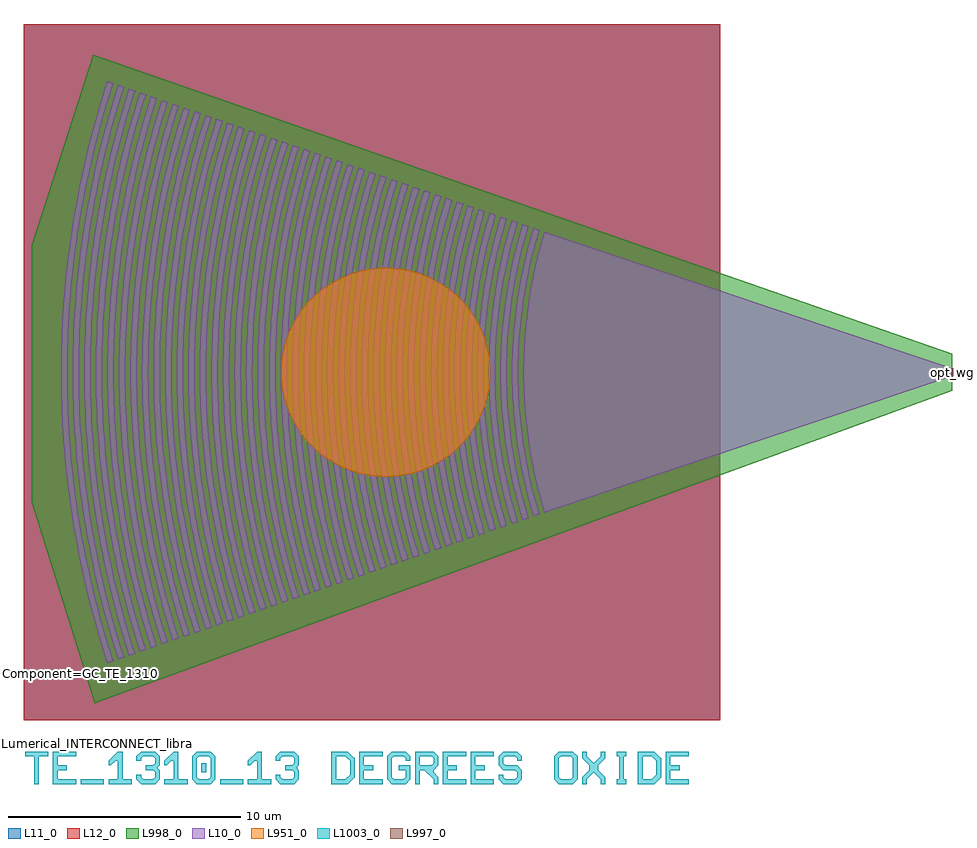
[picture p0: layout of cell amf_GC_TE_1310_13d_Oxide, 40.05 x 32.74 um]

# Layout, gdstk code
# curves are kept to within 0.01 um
import gdstk
lib = gdstk.Library(unit=1e-6, precision=1e-09)
def R(c, l, rs):  # rectangles x0, y0, x1, y1
    for r in rs: c.add(gdstk.rectangle(r[:2], r[2:], *l))
def P(c, l, *ps):  # polygons
    for p in ps: c.add(gdstk.Polygon(p, *l))
L10_0 = (10, 0)
L11_0 = (11, 0)
L12_0 = (12, 0)
L951_0 = (951, 0)
L997_0 = (997, 0)
L998_0 = (998, 0)
L1003_0 = (1003, 0)

amf_gc_te_1310_13d_oxide = lib.new_cell('amf_GC_TE_1310_13d_Oxide')
R(amf_gc_te_1310_13d_oxide, L10_0, [(-1,-0.175,0,0.175)])
P(amf_gc_te_1310_13d_oxide, L10_0, [(-17.569,-6.05),(-17.777,-5.32),(-17.958,-4.585),(-18.111,-3.845),(-18.238,-3.1),(-18.337,-2.351),(-18.409,-1.601),(-18.453,-0.848),(-18.47,-0.094),(-18.46,0.66),(-18.409,1.601),(-18.337,2.351),(-18.238,3.1),(-18.111,3.845),(-17.958,4.585),(-17.777,5.32),(-17.569,6.05),(0,0.175),(0,-0.175)],
  [(-26.516,-9.13),(-26.842,-8.033),(-27.125,-6.926),(-27.367,-5.809),(-27.566,-4.685),(-27.722,-3.555),(-27.835,-2.42),(-27.905,-1.282),(-27.932,-0.143),(-27.916,0.997),(-27.857,2.136),(-27.722,3.555),(-27.566,4.685),(-27.367,5.809),(-27.125,6.926),(-26.842,8.033),(-26.516,9.13),(-26.251,9.039),(-26.573,7.953),(-26.854,6.857),(-27.093,5.751),(-27.29,4.638),(-27.444,3.519),(-27.556,2.396),(-27.625,1.269),(-27.652,0.141),(-27.636,-0.987),(-27.556,-2.396),(-27.444,-3.519),(-27.29,-4.638),(-27.093,-5.751),(-26.854,-6.857),(-26.573,-7.953),(-26.251,-9.039)],
  [(-26.986,-9.292),(-27.319,-8.176),(-27.608,-7.049),(-27.854,-5.913),(-28.057,-4.769),(-28.216,-3.618),(-28.331,-2.463),(-28.403,-1.305),(-28.43,-0.145),(-28.414,1.015),(-28.353,2.174),(-28.249,3.33),(-28.101,4.482),(-27.909,5.627),(-27.608,7.049),(-27.319,8.176),(-26.986,9.292),(-26.722,9.201),(-27.05,8.096),(-27.337,6.98),(-27.58,5.855),(-27.781,4.722),(-27.938,3.583),(-28.052,2.439),(-28.123,1.292),(-28.15,0.144),(-28.134,-1.005),(-28.074,-2.153),(-27.971,-3.297),(-27.781,-4.722),(-27.58,-5.855),(-27.337,-6.98),(-27.05,-8.096),(-26.722,-9.201)],
  [(-27.457,-9.454),(-27.796,-8.319),(-28.09,-7.172),(-28.341,-6.016),(-28.548,-4.852),(-28.71,-3.682),(-28.827,-2.506),(-28.9,-1.328),(-28.928,-0.148),(-28.911,1.033),(-28.85,2.212),(-28.71,3.682),(-28.548,4.852),(-28.341,6.016),(-28.09,7.172),(-27.796,8.319),(-27.457,9.454),(-27.193,9.363),(-27.527,8.238),(-27.819,7.103),(-28.067,5.958),(-28.272,4.805),(-28.432,3.646),(-28.548,2.482),(-28.62,1.315),(-28.648,0.146),(-28.62,-1.315),(-28.548,-2.482),(-28.432,-3.646),(-28.272,-4.805),(-28.067,-5.958),(-27.819,-7.103),(-27.527,-8.238),(-27.193,-9.363)],
  [(-27.928,-9.616),(-28.273,-8.462),(-28.573,-7.295),(-28.828,-6.12),(-29.039,-4.936),(-29.204,-3.745),(-29.323,-2.55),(-29.398,-1.351),(-29.426,-0.15),(-29.409,1.051),(-29.346,2.25),(-29.204,3.745),(-29.039,4.936),(-28.828,6.12),(-28.573,7.295),(-28.273,8.462),(-27.928,9.616),(-27.663,9.525),(-28.005,8.381),(-28.302,7.226),(-28.554,6.061),(-28.763,4.889),(-28.926,3.709),(-29.044,2.525),(-29.118,1.338),(-29.146,0.149),(-29.129,-1.041),(-29.067,-2.229),(-28.96,-3.414),(-28.763,-4.889),(-28.554,-6.061),(-28.302,-7.226),(-28.005,-8.381),(-27.663,-9.525)],
  [(-30.283,-10.427),(-30.658,-9.175),(-30.986,-7.911),(-31.264,-6.637),(-31.493,-5.353),(-31.674,-4.062),(-31.804,-2.765),(-31.885,-1.465),(-31.916,-0.163),(-31.897,1.14),(-31.829,2.441),(-31.711,3.738),(-31.543,5.031),(-31.264,6.637),(-30.986,7.911),(-30.658,9.175),(-30.283,10.427),(-30.018,10.336),(-30.39,9.095),(-30.714,7.842),(-30.99,6.578),(-31.217,5.306),(-31.396,4.026),(-31.525,2.741),(-31.605,1.452),(-31.636,0.161),(-31.618,-1.13),(-31.571,-2.097),(-31.467,-3.384),(-31.356,-4.347),(-31.11,-5.943),(-30.788,-7.527),(-30.476,-8.783),(-30.018,-10.336)],
  [(-30.753,-10.589),(-31.135,-9.318),(-31.468,-8.035),(-31.751,-6.74),(-31.984,-5.436),(-32.167,-4.125),(-32.3,-2.808),(-32.382,-1.488),(-32.414,-0.165),(-32.395,1.157),(-32.325,2.479),(-32.205,3.796),(-32.035,5.109),(-31.814,6.415),(-31.544,7.712),(-31.223,8.998),(-30.951,9.955),(-30.753,10.589),(-30.489,10.498),(-30.867,9.238),(-31.272,7.645),(-31.599,6.037),(-31.849,4.415),(-31.962,3.437),(-32.068,2.13),(-32.115,1.147),(-32.134,0.164),(-32.125,-0.82),(-32.068,-2.13),(-31.962,-3.437),(-31.849,-4.415),(-31.599,-6.037),(-31.272,-7.645),(-30.954,-8.921),(-30.489,-10.498)],
  [(-31.224,-10.751),(-31.612,-9.461),(-31.951,-8.158),(-32.238,-6.843),(-32.475,-5.52),(-32.661,-4.188),(-32.796,-2.852),(-32.88,-1.511),(-32.912,-0.168),(-32.893,1.175),(-32.822,2.517),(-32.7,3.855),(-32.527,5.188),(-32.302,6.513),(-31.951,8.158),(-31.612,9.461),(-31.224,10.751),(-30.96,10.66),(-31.433,9.059),(-31.755,7.764),(-32.028,6.458),(-32.298,4.814),(-32.457,3.491),(-32.543,2.495),(-32.613,1.165),(-32.632,0.166),(-32.613,-1.165),(-32.565,-2.163),(-32.489,-3.159),(-32.342,-4.483),(-32.088,-6.13),(-31.828,-7.438),(-31.433,-9.059),(-30.96,-10.66)],
  [(-31.695,-10.914),(-32.09,-9.604),(-32.433,-8.281),(-32.725,-6.947),(-32.966,-5.603),(-33.155,-4.252),(-33.292,-2.895),(-33.377,-1.534),(-33.41,-0.17),(-33.39,1.193),(-33.319,2.555),(-33.195,3.913),(-32.966,5.603),(-32.725,6.947),(-32.433,8.281),(-32.09,9.604),(-31.695,10.914),(-31.43,10.822),(-31.632,10.175),(-31.911,9.197),(-32.239,7.882),(-32.452,6.889),(-32.577,6.224),(-32.836,4.552),(-32.952,3.544),(-33.062,2.196),(-33.111,1.183),(-33.13,0.169),(-33.111,-1.183),(-33.062,-2.196),(-32.952,-3.544),(-32.836,-4.552),(-32.577,-6.224),(-32.313,-7.552),(-31.911,-9.197),(-31.632,-10.175),(-31.43,-10.822)],
  [(-32.166,-11.076),(-32.567,-9.747),(-32.916,-8.404),(-33.213,-7.05),(-33.457,-5.687),(-33.649,-4.315),(-33.789,-2.938),(-33.875,-1.556),(-33.908,-0.173),(-33.905,0.519),(-33.875,1.556),(-33.789,2.938),(-33.649,4.315),(-33.457,5.687),(-33.213,7.05),(-32.916,8.404),(-32.567,9.747),(-32.166,11.076),(-31.901,10.984),(-32.39,9.335),(-32.723,8),(-32.939,6.992),(-33.066,6.317),(-33.234,5.3),(-33.329,4.62),(-33.48,3.256),(-33.559,2.229),(-33.608,1.201),(-33.628,0.172),(-33.618,-0.858),(-33.559,-2.229),(-33.48,-3.256),(-33.329,-4.62),(-33.234,-5.3),(-33.066,-6.317),(-32.939,-6.992),(-32.723,-8),(-32.39,-9.335),(-31.901,-10.984)],
  [(-32.637,-11.238),(-33.044,-9.889),(-33.398,-8.527),(-33.7,-7.154),(-33.948,-5.77),(-34.143,-4.379),(-34.285,-2.981),(-34.372,-1.579),(-34.406,-0.176),(-34.386,1.229),(-34.312,2.631),(-34.184,4.03),(-34.002,5.423),(-33.767,6.809),(-33.479,8.185),(-33.228,9.21),(-33.044,9.889),(-32.637,11.238),(-32.372,11.147),(-32.868,9.473),(-33.207,8.118),(-33.556,6.41),(-33.776,5.034),(-33.906,3.997),(-34.032,2.609),(-34.093,1.566),(-34.126,0.174),(-34.106,-1.219),(-34.056,-2.262),(-33.976,-3.304),(-33.822,-4.689),(-33.726,-5.379),(-33.556,-6.41),(-33.207,-8.118),(-32.868,-9.473),(-32.372,-11.147)],
  [(-33.108,-11.4),(-33.521,-10.032),(-33.881,-8.651),(-34.187,-7.257),(-34.439,-5.853),(-34.637,-4.442),(-34.781,-3.024),(-34.87,-1.602),(-34.904,-0.178),(-34.883,1.246),(-34.808,2.669),(-34.678,4.088),(-34.494,5.501),(-34.32,6.556),(-34.187,7.257),(-33.881,8.651),(-33.521,10.032),(-33.108,11.4),(-32.843,11.309),(-33.253,9.952),(-33.438,9.268),(-33.69,8.237),(-33.981,6.852),(-34.106,6.155),(-34.268,5.107),(-34.4,4.055),(-34.529,2.648),(-34.604,1.236),(-34.624,0.177),(-34.604,-1.236),(-34.553,-2.295),(-34.437,-3.704),(-34.315,-4.757),(-34.106,-6.155),(-33.981,-6.852),(-33.768,-7.891),(-33.347,-9.61),(-32.843,-11.309)],
  [(-33.579,-11.562),(-33.998,-10.175),(-34.363,-8.774),(-34.674,-7.36),(-34.93,-5.937),(-35.131,-4.505),(-35.277,-3.067),(-35.367,-1.625),(-35.402,-0.181),(-35.381,1.264),(-35.305,2.707),(-35.173,4.146),(-34.986,5.58),(-34.743,7.005),(-34.446,8.422),(-34.277,9.125),(-33.998,10.175),(-33.579,11.562),(-33.314,11.471),(-33.73,10.095),(-34.174,8.355),(-34.469,6.95),(-34.596,6.244),(-34.761,5.181),(-34.933,3.757),(-35.026,2.686),(-35.088,1.612),(-35.122,0.179),(-35.112,-0.896),(-35.05,-2.328),(-34.933,-3.757),(-34.809,-4.825),(-34.596,-6.244),(-34.469,-6.95),(-34.253,-8.005),(-34.092,-8.705),(-33.825,-9.748),(-33.631,-10.44),(-33.314,-11.471)],
  [(-34.049,-11.724),(-34.475,-10.318),(-34.846,-8.897),(-35.161,-7.464),(-35.421,-6.02),(-35.625,-4.569),(-35.773,-3.11),(-35.865,-1.648),(-35.9,-0.183),(-35.889,0.916),(-35.865,1.648),(-35.773,3.11),(-35.625,4.569),(-35.421,6.02),(-35.161,7.464),(-34.846,8.897),(-34.475,10.318),(-34.049,11.724),(-33.785,11.633),(-34.003,10.937),(-34.304,9.886),(-34.658,8.473),(-34.957,7.049),(-35.086,6.332),(-35.253,5.254),(-35.428,3.81),(-35.522,2.724),(-35.599,1.272),(-35.62,0.182),(-35.61,-0.909),(-35.547,-2.361),(-35.428,-3.81),(-35.302,-4.894),(-35.086,-6.332),(-34.957,-7.049),(-34.738,-8.118),(-34.488,-9.181),(-34.304,-9.886),(-34.003,-10.937),(-33.785,-11.633)],
  [(-34.52,-11.886),(-34.952,-10.461),(-35.328,-9.02),(-35.648,-7.567),(-35.912,-6.104),(-36.119,-4.632),(-36.269,-3.154),(-36.362,-1.671),(-36.398,-0.186),(-36.377,1.3),(-36.298,2.783),(-36.162,4.263),(-36.073,5.001),(-35.912,6.104),(-35.648,7.567),(-35.328,9.02),(-34.952,10.461),(-34.52,11.886),(-34.256,11.795),(-34.684,10.38),(-34.969,9.31),(-35.142,8.592),(-35.445,7.147),(-35.576,6.421),(-35.746,5.328),(-35.884,4.23),(-36.019,2.762),(-36.097,1.29),(-36.118,0.184),(-36.097,-1.29),(-36.043,-2.394),(-35.923,-3.863),(-35.795,-4.962),(-35.693,-5.692),(-35.512,-6.784),(-35.3,-7.871),(-35.142,-8.592),(-34.969,-9.31),(-34.684,-10.38),(-34.256,-11.795)],
  [(-34.991,-12.048),(-35.429,-10.603),(-35.811,-9.143),(-36.135,-7.671),(-36.403,-6.187),(-36.613,-4.695),(-36.765,-3.197),(-36.86,-1.694),(-36.896,-0.188),(-36.874,1.317),(-36.794,2.821),(-36.657,4.321),(-36.461,5.815),(-36.208,7.301),(-36.06,8.04),(-35.811,9.143),(-35.429,10.603),(-34.991,12.048),(-34.726,11.957),(-34.951,11.242),(-35.261,10.162),(-35.45,9.438),(-35.708,8.345),(-35.862,7.613),(-36.066,6.509),(-36.289,5.03),(-36.418,3.917),(-36.515,2.8),(-36.58,1.681),(-36.616,0.187),(-36.605,-0.934),(-36.54,-2.427),(-36.454,-3.545),(-36.289,-5.03),(-36.066,-6.509),(-35.862,-7.613),(-35.708,-8.345),(-35.45,-9.438),(-35.261,-10.162),(-35.058,-10.883),(-34.726,-11.957)],
  [(-21.336,-7.347),(-21.594,-6.463),(-21.818,-5.571),(-22.008,-4.672),(-22.165,-3.767),(-22.288,-2.858),(-22.378,-1.946),(-22.433,-1.031),(-22.454,-0.115),(-22.433,1.031),(-22.378,1.946),(-22.288,2.858),(-22.165,3.767),(-22.008,4.672),(-21.818,5.571),(-21.594,6.463),(-21.336,7.347),(-21.071,7.255),(-21.325,6.382),(-21.546,5.501),(-21.734,4.614),(-21.889,3.72),(-22.011,2.823),(-22.099,1.921),(-22.153,1.018),(-22.174,0.113),(-22.162,-0.792),(-22.115,-1.696),(-22.036,-2.598),(-21.923,-3.496),(-21.776,-4.391),(-21.546,-5.501),(-21.325,-6.382),(-21.071,-7.255)],
  [(-21.807,-7.509),(-22.071,-6.605),(-22.3,-5.694),(-22.495,-4.775),(-22.656,-3.851),(-22.782,-2.922),(-22.874,-1.989),(-22.93,-1.054),(-22.952,-0.117),(-22.939,0.82),(-22.891,1.755),(-22.808,2.689),(-22.691,3.619),(-22.539,4.545),(-22.3,5.694),(-22.071,6.605),(-21.807,7.509),(-21.542,7.418),(-21.802,6.525),(-22.029,5.625),(-22.222,4.717),(-22.38,3.804),(-22.505,2.886),(-22.595,1.965),(-22.651,1.041),(-22.672,0.116),(-22.651,-1.041),(-22.595,-1.965),(-22.505,-2.886),(-22.38,-3.804),(-22.222,-4.717),(-22.029,-5.625),(-21.802,-6.525),(-21.542,-7.418)],
  [(-22.278,-7.671),(-22.548,-6.748),(-22.783,-5.817),(-22.983,-4.879),(-23.147,-3.934),(-23.276,-2.985),(-23.37,-2.032),(-23.428,-1.076),(-23.45,-0.12),(-23.437,0.837),(-23.388,1.793),(-23.303,2.747),(-23.183,3.697),(-22.983,4.879),(-22.783,5.817),(-22.548,6.748),(-22.278,7.671),(-22.013,7.58),(-22.279,6.668),(-22.511,5.748),(-22.709,4.821),(-22.871,3.887),(-22.999,2.949),(-23.091,2.008),(-23.148,1.064),(-23.17,0.118),(-23.157,-0.827),(-23.109,-1.772),(-22.999,-2.949),(-22.871,-3.887),(-22.709,-4.821),(-22.511,-5.748),(-22.279,-6.668),(-22.013,-7.58)],
  [(-22.749,-7.833),(-23.025,-6.891),(-23.265,-5.94),(-23.47,-4.982),(-23.638,-4.018),(-23.77,-3.048),(-23.866,-2.075),(-23.925,-1.099),(-23.948,-0.122),(-23.934,0.855),(-23.884,1.831),(-23.798,2.805),(-23.675,3.776),(-23.515,4.741),(-23.32,5.701),(-23.025,6.891),(-22.749,7.833),(-22.484,7.742),(-22.757,6.811),(-22.994,5.871),(-23.196,4.924),(-23.362,3.971),(-23.493,3.013),(-23.587,2.051),(-23.646,1.086),(-23.668,0.121),(-23.655,-0.845),(-23.605,-1.81),(-23.52,-2.773),(-23.398,-3.732),(-23.241,-4.686),(-23.048,-5.635),(-22.757,-6.811),(-22.484,-7.742)],
  [(-35.462,-12.211),(-35.906,-10.746),(-36.293,-9.267),(-36.623,-7.774),(-36.894,-6.271),(-37.107,-4.759),(-37.261,-3.24),(-37.357,-1.716),(-37.394,-0.191),(-37.372,1.335),(-37.291,2.859),(-37.151,4.379),(-36.953,5.893),(-36.696,7.399),(-36.381,8.895),(-36.008,10.378),(-35.801,11.114),(-35.462,12.211),(-35.197,12.119),(-35.638,10.666),(-35.837,9.933),(-36.109,8.828),(-36.349,7.716),(-36.491,6.971),(-36.731,5.474),(-36.873,4.347),(-37.012,2.838),(-37.092,1.325),(-37.114,0.189),(-37.103,-0.947),(-37.037,-2.46),(-36.95,-3.593),(-36.782,-5.099),(-36.618,-6.224),(-36.491,-6.971),(-36.193,-8.458),(-36.022,-9.197),(-35.739,-10.3),(-35.425,-11.395),(-35.197,-12.119)],
  [(-35.933,-12.373),(-36.383,-10.889),(-36.776,-9.39),(-37.11,-7.878),(-37.385,-6.354),(-37.601,-4.822),(-37.758,-3.283),(-37.855,-1.739),(-37.892,-0.193),(-37.87,1.353),(-37.787,2.897),(-37.646,4.438),(-37.445,5.972),(-37.322,6.736),(-37.11,7.878),(-36.776,9.39),(-36.383,10.889),(-35.933,12.373),(-35.668,12.282),(-35.899,11.547),(-36.218,10.438),(-36.593,8.946),(-36.759,8.196),(-36.98,7.065),(-37.223,5.548),(-37.368,4.405),(-37.508,2.876),(-37.59,1.343),(-37.612,0.192),(-37.59,-1.343),(-37.534,-2.493),(-37.445,-3.641),(-37.275,-5.167),(-37.168,-5.928),(-36.98,-7.065),(-36.759,-8.196),(-36.593,-8.946),(-36.218,-10.438),(-35.899,-11.547),(-35.668,-12.282)],
  [(-36.404,-12.535),(-36.86,-11.032),(-37.258,-9.513),(-37.597,-7.981),(-37.876,-6.438),(-38.095,-4.885),(-38.254,-3.326),(-38.352,-1.762),(-38.39,-0.196),(-38.379,0.979),(-38.352,1.762),(-38.254,3.326),(-38.095,4.885),(-37.876,6.438),(-37.597,7.981),(-37.258,9.513),(-36.86,11.032),(-36.404,12.535),(-36.139,12.444),(-36.592,10.951),(-36.894,9.822),(-37.077,9.065),(-37.398,7.541),(-37.6,6.391),(-37.716,5.621),(-37.862,4.463),(-38.005,2.914),(-38.087,1.361),(-38.11,0.194),(-38.099,-0.972),(-38.031,-2.526),(-37.941,-3.689),(-37.768,-5.236),(-37.66,-6.006),(-37.469,-7.158),(-37.245,-8.304),(-37.077,-9.065),(-36.894,-9.822),(-36.592,-10.951),(-36.139,-12.444)],
  [(-23.22,-7.995),(-23.502,-7.034),(-23.748,-6.063),(-23.957,-5.085),(-24.129,-4.101),(-24.264,-3.112),(-24.362,-2.118),(-24.423,-1.122),(-24.446,-0.125),(-24.432,0.873),(-24.381,1.869),(-24.292,2.864),(-24.129,4.101),(-23.957,5.085),(-23.748,6.063),(-23.502,7.034),(-23.22,7.995),(-22.955,7.904),(-23.234,6.953),(-23.476,5.994),(-23.683,5.027),(-23.853,4.054),(-23.986,3.076),(-24.083,2.094),(-24.143,1.109),(-24.166,0.123),(-24.152,-0.863),(-24.102,-1.848),(-24.014,-2.831),(-23.89,-3.81),(-23.729,-4.785),(-23.476,-5.994),(-23.234,-6.953),(-22.955,-7.904)],
  [(-23.69,-8.157),(-23.979,-7.176),(-24.23,-6.187),(-24.444,-5.189),(-24.62,-4.185),(-24.758,-3.175),(-24.858,-2.161),(-24.92,-1.145),(-24.944,-0.127),(-24.93,0.891),(-24.858,2.161),(-24.758,3.175),(-24.62,4.185),(-24.444,5.189),(-24.23,6.187),(-23.979,7.176),(-23.69,8.157),(-23.426,8.066),(-23.711,7.096),(-23.959,6.117),(-24.17,5.131),(-24.344,4.138),(-24.48,3.139),(-24.579,2.137),(-24.641,1.132),(-24.664,0.126),(-24.65,-0.881),(-24.598,-1.886),(-24.509,-2.889),(-24.382,-3.889),(-24.17,-5.131),(-23.959,-6.117),(-23.711,-7.096),(-23.426,-8.066)],
  [(-24.161,-8.319),(-24.456,-7.319),(-24.713,-6.31),(-24.931,-5.292),(-25.111,-4.268),(-25.252,-3.238),(-25.354,-2.205),(-25.418,-1.168),(-25.442,-0.13),(-25.427,0.908),(-25.374,1.946),(-25.281,2.98),(-25.15,4.011),(-24.98,5.037),(-24.713,6.31),(-24.456,7.319),(-24.161,8.319),(-23.896,8.228),(-24.188,7.239),(-24.441,6.241),(-24.657,5.234),(-24.835,4.221),(-24.974,3.203),(-25.075,2.18),(-25.138,1.155),(-25.162,0.128),(-25.148,-0.898),(-25.095,-1.924),(-25.003,-2.947),(-24.835,-4.221),(-24.657,-5.234),(-24.441,-6.241),(-24.188,-7.239),(-23.896,-8.228)],
  [(-24.632,-8.482),(-24.933,-7.462),(-25.195,-6.433),(-25.418,-5.396),(-25.602,-4.351),(-25.746,-3.302),(-25.851,-2.248),(-25.915,-1.191),(-25.94,-0.132),(-25.925,0.926),(-25.87,1.984),(-25.776,3.038),(-25.642,4.089),(-25.468,5.135),(-25.255,6.174),(-24.933,7.462),(-24.632,8.482),(-24.367,8.39),(-24.665,7.382),(-24.924,6.364),(-25.144,5.338),(-25.326,4.305),(-25.468,3.266),(-25.572,2.223),(-25.636,1.178),(-25.66,0.131),(-25.636,-1.178),(-25.572,-2.223),(-25.468,-3.266),(-25.326,-4.305),(-25.144,-5.338),(-24.924,-6.364),(-24.665,-7.382),(-24.367,-8.39)],
  [(-25.103,-8.644),(-25.41,-7.605),(-25.678,-6.556),(-25.905,-5.499),(-26.093,-4.435),(-26.24,-3.365),(-26.347,-2.291),(-26.413,-1.214),(-26.438,-0.135),(-26.413,1.214),(-26.347,2.291),(-26.24,3.365),(-26.093,4.435),(-25.905,5.499),(-25.678,6.556),(-25.41,7.605),(-25.103,8.644),(-24.838,8.552),(-25.142,7.525),(-25.407,6.487),(-25.632,5.441),(-25.817,4.388),(-25.962,3.329),(-26.068,2.267),(-26.133,1.201),(-26.158,0.133),(-26.133,-1.201),(-26.068,-2.267),(-25.962,-3.329),(-25.817,-4.388),(-25.632,-5.441),(-25.407,-6.487),(-25.142,-7.525),(-24.838,-8.552)],
  [(-25.574,-8.806),(-25.887,-7.748),(-26.16,-6.679),(-26.393,-5.603),(-26.584,-4.518),(-26.734,-3.428),(-26.843,-2.334),(-26.91,-1.236),(-26.936,-0.137),(-26.921,0.962),(-26.864,2.06),(-26.734,3.428),(-26.584,4.518),(-26.393,5.603),(-26.16,6.679),(-25.887,7.748),(-25.574,8.806),(-25.309,8.715),(-25.619,7.667),(-25.889,6.61),(-26.119,5.544),(-26.308,4.471),(-26.456,3.393),(-26.564,2.31),(-26.63,1.224),(-26.656,0.136),(-26.641,-0.952),(-26.584,-2.038),(-26.487,-3.122),(-26.349,-4.202),(-26.119,-5.544),(-25.889,-6.61),(-25.619,-7.667),(-25.309,-8.715)],
  [(-26.045,-8.968),(-26.364,-7.89),(-26.643,-6.803),(-26.88,-5.706),(-27.075,-4.602),(-27.228,-3.492),(-27.339,-2.377),(-27.408,-1.259),(-27.434,-0.14),(-27.408,1.259),(-27.339,2.377),(-27.228,3.492),(-27.075,4.602),(-26.88,5.706),(-26.643,6.803),(-26.364,7.89),(-26.045,8.968),(-25.78,8.877),(-26.096,7.81),(-26.372,6.733),(-26.606,5.648),(-26.799,4.555),(-26.95,3.456),(-27.06,2.353),(-27.128,1.246),(-27.154,0.139),(-27.138,-0.97),(-27.081,-2.076),(-26.982,-3.181),(-26.841,-4.281),(-26.606,-5.648),(-26.372,-6.733),(-26.096,-7.81),(-25.78,-8.877)],
  [(-28.399,-9.779),(-28.75,-8.604),(-29.055,-7.419),(-29.315,-6.223),(-29.53,-5.019),(-29.698,-3.808),(-29.82,-2.593),(-29.895,-1.374),(-29.924,-0.153),(-29.907,1.068),(-29.82,2.593),(-29.698,3.808),(-29.53,5.019),(-29.315,6.223),(-29.055,7.419),(-28.75,8.604),(-28.399,9.779),(-28.134,9.687),(-28.482,8.524),(-28.784,7.349),(-29.042,6.165),(-29.254,4.972),(-29.42,3.773),(-29.541,2.568),(-29.615,1.361),(-29.644,0.151),(-29.627,-1.058),(-29.564,-2.267),(-29.42,-3.773),(-29.254,-4.972),(-29.042,-6.165),(-28.784,-7.349),(-28.482,-8.524),(-28.134,-9.687)],
  [(-28.87,-9.941),(-29.227,-8.747),(-29.538,-7.542),(-29.803,-6.326),(-30.021,-5.102),(-30.192,-3.872),(-30.316,-2.636),(-30.392,-1.396),(-30.422,-0.155),(-30.404,1.086),(-30.316,2.636),(-30.192,3.872),(-30.021,5.102),(-29.803,6.326),(-29.538,7.542),(-29.227,8.747),(-28.87,9.941),(-28.605,9.85),(-28.959,8.667),(-29.267,7.473),(-29.529,6.268),(-29.745,5.056),(-29.914,3.836),(-30.037,2.612),(-30.113,1.384),(-30.142,0.154),(-30.125,-1.076),(-30.037,-2.612),(-29.914,-3.836),(-29.745,-5.056),(-29.529,-6.268),(-29.267,-7.473),(-28.959,-8.667),(-28.605,-9.85)],
  [(-29.341,-10.103),(-29.704,-8.89),(-30.021,-7.665),(-30.29,-6.43),(-30.512,-5.186),(-30.686,-3.935),(-30.812,-2.679),(-30.89,-1.419),(-30.92,-0.158),(-30.902,1.104),(-30.812,2.679),(-30.686,3.935),(-30.512,5.186),(-30.29,6.43),(-30.021,7.665),(-29.704,8.89),(-29.341,10.103),(-29.076,10.012),(-29.436,8.81),(-29.749,7.596),(-30.016,6.372),(-30.235,5.139),(-30.408,3.899),(-30.533,2.655),(-30.61,1.406),(-30.64,0.156),(-30.631,-0.782),(-30.578,-2.031),(-30.506,-2.966),(-30.369,-4.21),(-30.132,-5.756),(-29.82,-7.291),(-29.519,-8.507),(-29.076,-10.012)],
  [(-29.812,-10.265),(-30.181,-9.033),(-30.503,-7.788),(-30.777,-6.533),(-31.002,-5.269),(-31.18,-3.998),(-31.308,-2.722),(-31.387,-1.442),(-31.418,-0.16),(-31.4,1.122),(-31.332,2.402),(-31.216,3.68),(-31.051,4.952),(-30.838,6.218),(-30.576,7.475),(-30.266,8.723),(-29.812,10.265),(-29.547,10.174),(-29.913,8.952),(-30.232,7.719),(-30.503,6.475),(-30.726,5.222),(-30.902,3.963),(-31.029,2.698),(-31.108,1.429),(-31.138,0.159),(-31.12,-1.112),(-31.074,-2.064),(-31.002,-3.015),(-30.863,-4.278),(-30.621,-5.85),(-30.304,-7.409),(-29.913,-8.952),(-29.547,-10.174)],
  [(-18.04,-6.212),(-18.254,-5.463),(-18.44,-4.708),(-18.598,-3.948),(-18.729,-3.183),(-18.831,-2.415),(-18.905,-1.644),(-18.951,-0.871),(-18.968,-0.097),(-18.951,0.871),(-18.905,1.644),(-18.831,2.415),(-18.729,3.183),(-18.598,3.948),(-18.44,4.708),(-18.254,5.463),(-18.04,6.212),(-17.775,6.12),(-17.986,5.383),(-18.169,4.639),(-18.324,3.89),(-18.452,3.136),(-18.553,2.379),(-18.626,1.619),(-18.671,0.858),(-18.688,0.095),(-18.678,-0.667),(-18.64,-1.429),(-18.574,-2.19),(-18.48,-2.947),(-18.359,-3.702),(-18.169,-4.639),(-17.986,-5.383),(-17.775,-6.12)],
  [(-18.511,-6.374),(-18.731,-5.606),(-18.923,-4.831),(-19.122,-3.856),(-19.219,-3.267),(-19.325,-2.478),(-19.401,-1.687),(-19.448,-0.894),(-19.466,-0.099),(-19.448,0.894),(-19.401,1.687),(-19.325,2.478),(-19.219,3.267),(-19.122,3.856),(-18.923,4.831),(-18.731,5.606),(-18.511,6.374),(-18.246,6.283),(-18.463,5.526),(-18.651,4.762),(-18.812,3.993),(-18.943,3.22),(-19.047,2.443),(-19.122,1.663),(-19.168,0.881),(-19.186,0.098),(-19.175,-0.685),(-19.136,-1.467),(-19.068,-2.248),(-18.972,-3.026),(-18.847,-3.8),(-18.694,-4.57),(-18.513,-5.335),(-18.246,-6.283)],
  [(-18.982,-6.536),(-19.208,-5.749),(-19.405,-4.955),(-19.573,-4.155),(-19.71,-3.35),(-19.819,-2.542),(-19.897,-1.73),(-19.946,-0.916),(-19.964,-0.102),(-19.953,0.713),(-19.912,1.527),(-19.841,2.339),(-19.74,3.148),(-19.61,3.954),(-19.45,4.755),(-19.208,5.749),(-18.982,6.536),(-18.717,6.445),(-18.94,5.668),(-19.134,4.885),(-19.299,4.097),(-19.434,3.303),(-19.541,2.506),(-19.618,1.706),(-19.666,0.904),(-19.684,0.1),(-19.673,-0.703),(-19.633,-1.505),(-19.563,-2.306),(-19.464,-3.104),(-19.335,-3.899),(-19.178,-4.689),(-18.94,-5.668),(-18.717,-6.445)],
  [(-19.453,-6.698),(-19.685,-5.891),(-19.888,-5.078),(-20.06,-4.258),(-20.201,-3.434),(-20.313,-2.605),(-20.393,-1.773),(-20.443,-0.939),(-20.462,-0.104),(-20.451,0.731),(-20.408,1.565),(-20.336,2.397),(-20.232,3.227),(-20.06,4.258),(-19.888,5.078),(-19.685,5.891),(-19.453,6.698),(-19.188,6.607),(-19.417,5.811),(-19.616,5.009),(-19.786,4.2),(-19.925,3.387),(-20.035,2.569),(-20.114,1.749),(-20.163,0.926),(-20.182,0.103),(-20.171,-0.721),(-20.129,-1.543),(-20.057,-2.364),(-19.956,-3.183),(-19.824,-3.997),(-19.616,-5.009),(-19.417,-5.811),(-19.188,-6.607)],
  [(-19.923,-6.86),(-20.162,-6.034),(-20.37,-5.201),(-20.547,-4.362),(-20.692,-3.517),(-20.807,-2.668),(-20.889,-1.816),(-20.94,-0.962),(-20.96,-0.107),(-20.948,0.748),(-20.905,1.603),(-20.83,2.455),(-20.724,3.305),(-20.547,4.362),(-20.37,5.201),(-20.162,6.034),(-19.923,6.86),(-19.659,6.769),(-19.894,5.954),(-20.099,5.132),(-20.273,4.303),(-20.416,3.47),(-20.529,2.633),(-20.61,1.792),(-20.661,0.949),(-20.68,0.106),(-20.669,-0.738),(-20.626,-1.581),(-20.529,-2.633),(-20.416,-3.47),(-20.273,-4.303),(-20.099,-5.132),(-19.894,-5.954),(-19.659,-6.769)],
  [(-20.394,-7.022),(-20.639,-6.177),(-20.853,-5.324),(-21.034,-4.465),(-21.183,-3.6),(-21.3,-2.732),(-21.385,-1.859),(-21.438,-0.985),(-21.458,-0.109),(-21.446,0.766),(-21.402,1.641),(-21.325,2.514),(-21.216,3.384),(-21.034,4.465),(-20.853,5.324),(-20.639,6.177),(-20.394,7.022),(-20.13,6.931),(-20.371,6.097),(-20.581,5.255),(-20.76,4.407),(-20.907,3.554),(-21.023,2.696),(-21.106,1.835),(-21.158,0.972),(-21.178,0.108),(-21.166,-0.756),(-21.122,-1.62),(-21.047,-2.481),(-20.907,-3.554),(-20.76,-4.407),(-20.581,-5.255),(-20.371,-6.097),(-20.13,-6.931)],
  [(-20.865,-7.184),(-21.116,-6.32),(-21.335,-5.447),(-21.521,-4.568),(-21.674,-3.684),(-21.794,-2.795),(-21.881,-1.903),(-21.935,-1.008),(-21.956,-0.112),(-21.944,0.784),(-21.898,1.679),(-21.819,2.572),(-21.674,3.684),(-21.521,4.568),(-21.335,5.447),(-21.116,6.32),(-20.865,7.184),(-20.6,7.093),(-20.848,6.24),(-21.064,5.378),(-21.247,4.51),(-21.398,3.637),(-21.517,2.759),(-21.603,1.878),(-21.656,0.995),(-21.676,0.111),(-21.664,-0.774),(-21.619,-1.658),(-21.541,-2.539),(-21.431,-3.418),(-21.288,-4.292),(-21.113,-5.162),(-20.848,-6.24),(-20.6,-7.093)])
R(amf_gc_te_1310_13d_oxide, L11_0, [(-40,-15,-10,15)])
R(amf_gc_te_1310_13d_oxide, L12_0, [(-40,-15,-10,15)])
P(amf_gc_te_1310_13d_oxide, L951_0, [(-24.621,-4.5),(-25.061,-4.457),(-25.495,-4.37),(-25.918,-4.242),(-26.326,-4.073),(-26.716,-3.864),(-27.084,-3.619),(-27.426,-3.338),(-27.738,-3.026),(-28.019,-2.684),(-28.264,-2.316),(-28.473,-1.926),(-28.642,-1.518),(-28.77,-1.095),(-28.857,-0.661),(-28.9,-0.221),(-28.9,0.221),(-28.857,0.661),(-28.77,1.095),(-28.642,1.518),(-28.473,1.926),(-28.264,2.316),(-28.019,2.684),(-27.738,3.026),(-27.426,3.338),(-27.084,3.619),(-26.716,3.864),(-26.326,4.073),(-25.918,4.242),(-25.495,4.37),(-25.061,4.457),(-24.621,4.5),(-24.179,4.5),(-23.739,4.457),(-23.305,4.37),(-22.882,4.242),(-22.474,4.073),(-22.084,3.864),(-21.716,3.619),(-21.374,3.338),(-21.062,3.026),(-20.781,2.684),(-20.536,2.316),(-20.327,1.926),(-20.158,1.518),(-20.03,1.095),(-19.943,0.661),(-19.9,0.221),(-19.9,-0.221),(-19.943,-0.661),(-20.03,-1.095),(-20.158,-1.518),(-20.327,-1.926),(-20.536,-2.316),(-20.781,-2.684),(-21.062,-3.026),(-21.374,-3.338),(-21.716,-3.619),(-22.084,-3.864),(-22.474,-4.073),(-22.882,-4.242),(-23.305,-4.37),(-23.739,-4.457),(-24.179,-4.5)])
P(amf_gc_te_1310_13d_oxide, L998_0, [(-36.93,-14.26),(-39.65,-5.6),(-39.65,5.474),(-37.01,13.68),(0,0.8),(0,-0.8)])
R(amf_gc_te_1310_13d_oxide, L1003_0, [(-37.54,-17.74,-36.54,-17.54), (-31.54,-17.74,-30.54,-17.54), (-32.34,-17.24,-32.14,-16.84)])
P(amf_gc_te_1310_13d_oxide, L1003_0, [(-39.54,-17.74),(-39.54,-16.54),(-39.94,-16.54),(-39.94,-16.34),(-38.94,-16.34),(-38.94,-16.54),(-39.34,-16.54),(-39.34,-17.74)],
  [(-38.74,-17.74),(-38.74,-16.34),(-37.74,-16.34),(-37.74,-16.54),(-38.54,-16.54),(-38.54,-16.94),(-38.14,-16.94),(-38.14,-17.14),(-38.54,-17.14),(-38.54,-17.54),(-37.74,-17.54),(-37.74,-17.74)],
  [(-36.34,-17.74),(-36.34,-17.54),(-35.94,-17.54),(-35.94,-16.74),(-36.04,-16.74),(-36.24,-16.94),(-36.34,-16.94),(-36.34,-16.74),(-35.94,-16.34),(-35.74,-16.34),(-35.74,-17.54),(-35.34,-17.54),(-35.34,-17.74)],
  [(-34.94,-17.74),(-35.14,-17.54),(-35.14,-17.34),(-34.94,-17.34),(-34.94,-17.44),(-34.84,-17.54),(-34.44,-17.54),(-34.34,-17.44),(-34.34,-17.24),(-34.44,-17.14),(-34.74,-17.14),(-34.74,-16.94),(-34.44,-16.94),(-34.34,-16.84),(-34.34,-16.64),(-34.44,-16.54),(-34.84,-16.54),(-34.94,-16.64),(-34.94,-16.74),(-35.14,-16.74),(-35.14,-16.54),(-34.94,-16.34),(-34.34,-16.34),(-34.14,-16.54),(-34.14,-16.94),(-34.24,-17.04),(-34.14,-17.14),(-34.14,-17.54),(-34.34,-17.74)],
  [(-33.94,-17.74),(-33.94,-17.54),(-33.54,-17.54),(-33.54,-16.74),(-33.64,-16.74),(-33.84,-16.94),(-33.94,-16.94),(-33.94,-16.74),(-33.54,-16.34),(-33.34,-16.34),(-33.34,-17.54),(-32.94,-17.54),(-32.94,-17.74)],
  [(-32.54,-17.74),(-32.74,-17.54),(-32.74,-16.54),(-32.54,-16.34),(-31.94,-16.34),(-31.74,-16.54),(-32.44,-16.54),(-32.54,-16.64),(-32.54,-17.44),(-32.44,-17.54),(-32.04,-17.54),(-31.94,-17.44),(-31.94,-16.64),(-32.04,-16.54),(-31.74,-16.54),(-31.74,-17.54),(-31.94,-17.74)],
  [(-30.34,-17.74),(-30.34,-17.54),(-29.94,-17.54),(-29.94,-16.74),(-30.04,-16.74),(-30.24,-16.94),(-30.34,-16.94),(-30.34,-16.74),(-29.94,-16.34),(-29.74,-16.34),(-29.74,-17.54),(-29.34,-17.54),(-29.34,-17.74)],
  [(-28.94,-17.74),(-29.14,-17.54),(-29.14,-17.34),(-28.94,-17.34),(-28.94,-17.44),(-28.84,-17.54),(-28.44,-17.54),(-28.34,-17.44),(-28.34,-17.24),(-28.44,-17.14),(-28.74,-17.14),(-28.74,-16.94),(-28.44,-16.94),(-28.34,-16.84),(-28.34,-16.64),(-28.44,-16.54),(-28.84,-16.54),(-28.94,-16.64),(-28.94,-16.74),(-29.14,-16.74),(-29.14,-16.54),(-28.94,-16.34),(-28.34,-16.34),(-28.14,-16.54),(-28.14,-16.94),(-28.24,-17.04),(-28.14,-17.14),(-28.14,-17.54),(-28.34,-17.74)],
  [(-26.74,-17.74),(-26.74,-16.34),(-26.04,-16.34),(-25.84,-16.54),(-26.54,-16.54),(-26.54,-17.54),(-26.14,-17.54),(-25.94,-17.34),(-25.94,-16.74),(-26.14,-16.54),(-25.84,-16.54),(-25.74,-16.64),(-25.74,-17.44),(-26.04,-17.74)],
  [(-25.54,-17.74),(-25.54,-16.34),(-24.54,-16.34),(-24.54,-16.54),(-25.34,-16.54),(-25.34,-16.94),(-24.94,-16.94),(-24.94,-17.14),(-25.34,-17.14),(-25.34,-17.54),(-24.54,-17.54),(-24.54,-17.74)],
  [(-24.14,-17.74),(-24.34,-17.54),(-24.34,-16.54),(-24.14,-16.34),(-23.54,-16.34),(-23.34,-16.54),(-23.34,-16.74),(-23.54,-16.74),(-23.54,-16.64),(-23.64,-16.54),(-24.04,-16.54),(-24.14,-16.64),(-24.14,-17.44),(-24.04,-17.54),(-23.64,-17.54),(-23.54,-17.44),(-23.54,-17.14),(-23.84,-17.14),(-23.84,-16.94),(-23.34,-16.94),(-23.34,-17.54),(-23.54,-17.74)],
  [(-23.14,-17.74),(-23.14,-16.34),(-22.34,-16.34),(-22.14,-16.54),(-22.94,-16.54),(-22.94,-16.94),(-22.44,-16.94),(-22.34,-16.84),(-22.34,-16.64),(-22.44,-16.54),(-22.14,-16.54),(-22.14,-16.94),(-22.34,-17.14),(-22.34,-17.24),(-22.14,-17.44),(-22.14,-17.74),(-22.34,-17.74),(-22.34,-17.54),(-22.74,-17.14),(-22.94,-17.14),(-22.94,-17.74)],
  [(-21.94,-17.74),(-21.94,-16.34),(-20.94,-16.34),(-20.94,-16.54),(-21.74,-16.54),(-21.74,-16.94),(-21.34,-16.94),(-21.34,-17.14),(-21.74,-17.14),(-21.74,-17.54),(-20.94,-17.54),(-20.94,-17.74)],
  [(-20.74,-17.74),(-20.74,-16.34),(-19.74,-16.34),(-19.74,-16.54),(-20.54,-16.54),(-20.54,-16.94),(-20.14,-16.94),(-20.14,-17.14),(-20.54,-17.14),(-20.54,-17.54),(-19.74,-17.54),(-19.74,-17.74)],
  [(-19.34,-17.74),(-19.54,-17.54),(-19.54,-17.34),(-19.34,-17.34),(-19.34,-17.44),(-19.24,-17.54),(-18.84,-17.54),(-18.74,-17.44),(-18.74,-17.24),(-18.84,-17.14),(-19.34,-17.14),(-19.54,-16.94),(-19.54,-16.54),(-19.34,-16.34),(-18.74,-16.34),(-18.54,-16.54),(-18.54,-16.74),(-18.74,-16.74),(-18.74,-16.64),(-18.84,-16.54),(-19.24,-16.54),(-19.34,-16.64),(-19.34,-16.84),(-19.24,-16.94),(-18.74,-16.94),(-18.54,-17.14),(-18.54,-17.54),(-18.74,-17.74)],
  [(-16.94,-17.74),(-17.14,-17.54),(-17.14,-16.54),(-16.94,-16.34),(-16.34,-16.34),(-16.14,-16.54),(-16.14,-17.04),(-16.34,-17.04),(-16.34,-16.64),(-16.44,-16.54),(-16.84,-16.54),(-16.94,-16.64),(-16.94,-17.44),(-16.84,-17.54),(-16.44,-17.54),(-16.34,-17.44),(-16.34,-17.04),(-16.14,-17.04),(-16.14,-17.54),(-16.34,-17.74)],
  [(-15.94,-17.74),(-15.94,-17.44),(-15.64,-17.14),(-15.64,-16.94),(-15.94,-16.64),(-15.94,-16.34),(-15.74,-16.34),(-15.74,-16.54),(-15.44,-16.84),(-15.14,-16.54),(-15.14,-16.34),(-14.94,-16.34),(-14.94,-16.64),(-15.24,-16.94),(-15.24,-17.14),(-14.94,-17.44),(-14.94,-17.74),(-15.14,-17.74),(-15.14,-17.54),(-15.44,-17.24),(-15.74,-17.54),(-15.74,-17.74)],
  [(-14.44,-17.74),(-14.44,-17.54),(-14.34,-17.54),(-14.34,-16.54),(-14.44,-16.54),(-14.44,-16.34),(-14.04,-16.34),(-14.04,-16.54),(-14.14,-16.54),(-14.14,-17.54),(-14.04,-17.54),(-14.04,-17.74)],
  [(-13.54,-17.74),(-13.54,-16.34),(-12.84,-16.34),(-12.64,-16.54),(-13.34,-16.54),(-13.34,-17.54),(-12.94,-17.54),(-12.74,-17.34),(-12.74,-16.74),(-12.94,-16.54),(-12.64,-16.54),(-12.54,-16.64),(-12.54,-17.44),(-12.84,-17.74)],
  [(-12.34,-17.74),(-12.34,-16.34),(-11.34,-16.34),(-11.34,-16.54),(-12.14,-16.54),(-12.14,-16.94),(-11.74,-16.94),(-11.74,-17.14),(-12.14,-17.14),(-12.14,-17.54),(-11.34,-17.54),(-11.34,-17.74)])
amf_gc_te_1310_13d_oxide.add(gdstk.FlexPath([(-0.05,0),(0.05,0)], 0.35, ends="flush", simple_path=True, layer=997, datatype=0))  # L997_0
amf_gc_te_1310_13d_oxide.add(gdstk.Label('opt_wg', (0,0), layer=997, texttype=0))
amf_gc_te_1310_13d_oxide.add(gdstk.Label('Component=GC_TE_1310', (-39,-13), layer=998, texttype=0))
amf_gc_te_1310_13d_oxide.add(gdstk.Label('Lumerical_INTERCONNECT_library=Design kits/SiEPIC_AMF', (-39,-16), layer=998, texttype=0))

lib.write_gds('amf_GC_TE_1310_13d_Oxide.gds')
